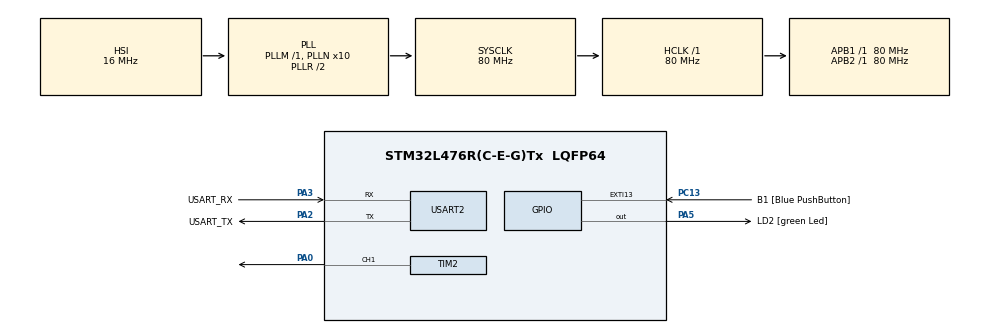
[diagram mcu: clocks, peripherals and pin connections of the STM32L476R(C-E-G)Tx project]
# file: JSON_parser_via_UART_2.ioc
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Dma.Request0=USART2_RX
Dma.Request1=TIM2_CH1
Dma.TIM2_CH1.1.Direction=DMA_MEMORY_TO_PERIPH
Dma.TIM2_CH1.1.Instance=DMA1_Channel5
Dma.TIM2_CH1.1.MemDataAlignment=DMA_MDATAALIGN_BYTE
Dma.TIM2_CH1.1.MemInc=DMA_MINC_ENABLE
Dma.TIM2_CH1.1.Mode=DMA_NORMAL
Dma.TIM2_CH1.1.PeriphDataAlignment=DMA_PDATAALIGN_WORD
Dma.TIM2_CH1.1.PeriphInc=DMA_PINC_DISABLE
Dma.TIM2_CH1.1.Priority=DMA_PRIORITY_LOW
Dma.USART2_RX.0.Direction=DMA_PERIPH_TO_MEMORY
Dma.USART2_RX.0.Instance=DMA1_Channel6
Dma.USART2_RX.0.MemDataAlignment=DMA_MDATAALIGN_BYTE
Dma.USART2_RX.0.MemInc=DMA_MINC_ENABLE
Dma.USART2_RX.0.Mode=DMA_NORMAL
Dma.USART2_RX.0.PeriphDataAlignment=DMA_PDATAALIGN_BYTE
Dma.USART2_RX.0.PeriphInc=DMA_PINC_DISABLE
Dma.USART2_RX.0.Priority=DMA_PRIORITY_LOW
Mcu.Family=STM32L4
Mcu.Name=STM32L476R(C-E-G)Tx
Mcu.Package=LQFP64
NVIC.DMA1_Channel5_IRQn=true\:0\:0\:false\:false\:true\:false\:true\:true
NVIC.DMA1_Channel6_IRQn=true\:0\:0\:false\:false\:true\:false\:true\:true
NVIC.EXTI15_10_IRQn=true\:1\:0\:true\:false\:true\:true\:true\:true
NVIC.PriorityGroup=NVIC_PRIORITYGROUP_4
NVIC.USART2_IRQn=true\:0\:0\:false\:false\:true\:true\:true\:true
PA0.Signal=S_TIM2_CH1
PA13\ (JTMS-SWDIO).GPIO_Label=TMS
PA13\ (JTMS-SWDIO).Mode=Serial_Wire
PA13\ (JTMS-SWDIO).Signal=SYS_JTMS-SWDIO
PA14\ (JTCK-SWCLK).GPIO_Label=TCK
PA14\ (JTCK-SWCLK).Mode=Serial_Wire
PA14\ (JTCK-SWCLK).Signal=SYS_JTCK-SWCLK
PA2.GPIO_Label=USART_TX
PA2.GPIO_Mode=GPIO_MODE_AF_PP
PA2.GPIO_PuPd=GPIO_NOPULL
PA2.GPIO_Speed=GPIO_SPEED_FREQ_VERY_HIGH
PA2.Mode=Asynchronous
PA2.Signal=USART2_TX
PA3.GPIO_Label=USART_RX
PA3.GPIO_Mode=GPIO_MODE_AF_PP
PA3.GPIO_PuPd=GPIO_NOPULL
PA3.GPIO_Speed=GPIO_SPEED_FREQ_VERY_HIGH
PA3.Mode=Asynchronous
PA3.Signal=USART2_RX
PA5.GPIO_Label=LD2 [green Led]
PA5.GPIO_ModeDefaultOutputPP=GPIO_MODE_OUTPUT_PP
PA5.GPIO_PuPd=GPIO_NOPULL
PA5.GPIO_Speed=GPIO_SPEED_FREQ_LOW
PA5.Signal=GPIO_Output
PB3\ (JTDO-TRACESWO).GPIO_Label=SWO
PB3\ (JTDO-TRACESWO).Signal=SYS_JTDO-SWO
PC13.GPIO_Label=B1 [Blue PushButton]
PC13.GPIO_ModeDefaultEXTI=GPIO_MODE_IT_FALLING
PC13.GPIO_PuPd=GPIO_NOPULL
PC13.Signal=GPXTI13
PC14-OSC32_IN\ (PC14).Mode=LSE-External-Oscillator
PC14-OSC32_IN\ (PC14).Signal=RCC_OSC32_IN
PC15-OSC32_OUT\ (PC15).Mode=LSE-External-Oscillator
PC15-OSC32_OUT\ (PC15).Signal=RCC_OSC32_OUT
PH0-OSC_IN\ (PH0).Signal=RCC_OSC_IN
PH1-OSC_OUT\ (PH1).Signal=RCC_OSC_OUT
ProjectManager.HeapSize=0x200
ProjectManager.StackSize=0x400
ProjectManager.TargetToolchain=STM32CubeIDE
RCC.ADCFreq_Value=64000000
RCC.AHBFreq_Value=80000000
RCC.APB1Freq_Value=80000000
RCC.APB1TimFreq_Value=80000000
RCC.APB2Freq_Value=80000000
RCC.APB2TimFreq_Value=80000000
RCC.CortexFreq_Value=80000000
RCC.HCLKFreq_Value=80000000
RCC.HSE_VALUE=8000000
RCC.HSI_VALUE=16000000
RCC.MSI_VALUE=4000000
RCC.PLLN=10
RCC.PLLSourceVirtual=RCC_PLLSOURCE_HSI
RCC.PREFETCH_ENABLE=1
RCC.SYSCLKFreq_VALUE=80000000
RCC.SYSCLKSource=RCC_SYSCLKSOURCE_PLLCLK
RCC.USBFreq_Value=64000000
RCC.VCOOutputFreq_Value=160000000
SH.S_TIM2_CH1.0=TIM2_CH1,PWM Generation1 CH1
TIM2.Channel-PWM\ Generation1\ CH1=TIM_CHANNEL_1
TIM2.Period=100-1
USART2.VirtualMode-Asynchronous=VM_ASYNC
board=NUCLEO-L476RG

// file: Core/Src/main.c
/* USER CODE BEGIN Header */
/**
  ******************************************************************************
  * @file           : main.c
  * @brief          : Main program body
  ******************************************************************************
  * @attention
  *
  * Copyright (c) 2023 STMicroelectronics.
  * All rights reserved.
  *
  * This software is licensed under terms that can be found in the LICENSE file
  * in the root directory of this software component.
  * If no LICENSE file comes with this software, it is provided AS-IS.
  *
  ******************************************************************************
  */
/* USER CODE END Header */
#include "main.h"
#include "dma.h"
#include "tim.h"
#include "usart.h"
#include "gpio.h"

/* USER CODE BEGIN Includes */
#include <stdbool.h>
#include <string.h>

#include "lwjson/lwjson.h"
#include "led_ws2813b.h"
/* USER CODE END Includes */

/* USER CODE BEGIN PTD */
typedef enum
{
	LED_OFF = 0,
	LED_ON
}led_state_t;

typedef struct
{
	uint8_t red;
	uint8_t green;
	uint8_t blue;
} led_rgb_t;

/* USER CODE END PTD */

/* USER CODE BEGIN PV */
uint8_t rx_buffer[256];
bool data_received = false;
/* USER CODE END PV */

void SystemClock_Config(void);

int main(void)
{

  /* MCU Configuration--------------------------------------------------------*/

  /* Reset of all peripherals, Initializes the Flash interface and the Systick. */
  HAL_Init();

  /* Configure the system clock */
  SystemClock_Config();

  /* Initialize all configured peripherals */
  MX_GPIO_Init();
  MX_DMA_Init();
  MX_USART2_UART_Init();
  MX_TIM2_Init();
  /* USER CODE BEGIN 2 */
  led_state_t led_state = LED_OFF;
  uint32_t blink_time = 1000;
  led_rgb_t led[NUMBER_OF_LEDS] = {0};
  uint32_t stimer = 0;
  uint32_t nbr;

  static lwjson_token_t tokens[128];
  static lwjson_t lwjson;

  lwjson_init(&lwjson, tokens, LWJSON_ARRAYSIZE(tokens));
  led_init();

  HAL_UARTEx_ReceiveToIdle_DMA(&huart2, rx_buffer, 256);

  stimer = HAL_GetTick();
  /* USER CODE END 2 */

  /* Infinite loop */
  /* USER CODE BEGIN WHILE */
  while (1)
  {
	  if (data_received == true)
	  {
		  data_received = false;

		  /*
			{
			  "BLINK_TIME":100,
			  "LED_COLOR":
			  [
				{
				  "NUMBER":0,
				  "RED":255,
				  "GREEN":0,
				  "BLUE":0
				},
				{
				  "NUMBER":1,
				  "RED":0,
				  "GREEN":255,
				  "BLUE":0
				},
				{
				  "NUMBER":2,
				  "RED":0,
				  "GREEN":0,
				  "BLUE":255
				},
				{
				  "NUMBER":3,
				  "RED":255,
				  "GREEN":255,
				  "BLUE":255
				}
			  ]
			}

			{"BLINK_TIME":100,"LED_COLOR":[{"NUMBER":0,"RED":255,"GREEN":0,"BLUE":0},{"NUMBER":1,"RED":0,"GREEN":255,"BLUE":0},{"NUMBER":2,"RED":0,"GREEN":0,"BLUE":255},{"NUMBER":3,"RED":255,"GREEN":255,"BLUE":255}]}
		  */

		  if (lwjson_parse(&lwjson, (char*)rx_buffer) == lwjsonOK)
		  {
			  const lwjson_token_t* t;
			  const lwjson_token_t* tmp;

			  if ((t = lwjson_find(&lwjson, "BLINK_TIME")) != NULL)
			  {
				  blink_time = lwjson_get_val_int(t);
			  }

			  t = lwjson_find(&lwjson, "LED_COLOR");
			  tmp = lwjson_get_first_child(t);

			  for(uint32_t i=0; i<NUMBER_OF_LEDS; i++)
			  {
					t = lwjson_find_ex(&lwjson, tmp, "NUMBER");

					if (t != NULL)
					{
						nbr = lwjson_get_val_int(t);
					}
					else
					{
						break;
					}

					t = lwjson_find_ex(&lwjson, tmp, "RED");

					if (t != NULL)
					{
						led[nbr].red = lwjson_get_val_int(t);
					}

					t = lwjson_find_ex(&lwjson, tmp, "GREEN");

					if (t != NULL)
					{
						led[nbr].green = lwjson_get_val_int(t);
					}

					t = lwjson_find_ex(&lwjson, tmp, "BLUE");

					if (t != NULL)
					{
						led[nbr].blue = lwjson_get_val_int(t);
					}

					tmp = tmp->next;
			  }

			  lwjson_free(&lwjson);
		  }
	  }

	  if ((HAL_GetTick() - stimer) > blink_time)
	  {
			stimer = HAL_GetTick();

			if (led_state == LED_OFF)
			{
				led_state = LED_ON;

				for (int i=0; i<NUMBER_OF_LEDS; i++)
					led_set_one_led_colors(i, led[i].green, led[i].red, led[i].blue);

				led_send_led_colors();
			}
			else if (led_state == LED_ON)
			{
				led_state = LED_OFF;

				led_set_all_led_colors(0, 0, 0);
				led_send_led_colors();
			}
	  }

    /* USER CODE END WHILE */

  }
}

void SystemClock_Config(void)
{
  RCC_OscInitTypeDef RCC_OscInitStruct = {0};
  RCC_ClkInitTypeDef RCC_ClkInitStruct = {0};

  /** Configure the main internal regulator output voltage
  */
  if (HAL_PWREx_ControlVoltageScaling(PWR_REGULATOR_VOLTAGE_SCALE1) != HAL_OK)
  {
    Error_Handler();
  }

  /** Initializes the RCC Oscillators according to the specified parameters
  * in the RCC_OscInitTypeDef structure.
  */
  RCC_OscInitStruct.OscillatorType = RCC_OSCILLATORTYPE_HSI;
  RCC_OscInitStruct.HSIState = RCC_HSI_ON;
  RCC_OscInitStruct.HSICalibrationValue = RCC_HSICALIBRATION_DEFAULT;
  RCC_OscInitStruct.PLL.PLLState = RCC_PLL_ON;
  RCC_OscInitStruct.PLL.PLLSource = RCC_PLLSOURCE_HSI;
  RCC_OscInitStruct.PLL.PLLM = 1;
  RCC_OscInitStruct.PLL.PLLN = 10;
  RCC_OscInitStruct.PLL.PLLP = RCC_PLLP_DIV7;
  RCC_OscInitStruct.PLL.PLLQ = RCC_PLLQ_DIV2;
  RCC_OscInitStruct.PLL.PLLR = RCC_PLLR_DIV2;
  if (HAL_RCC_OscConfig(&RCC_OscInitStruct) != HAL_OK)
  {
    Error_Handler();
  }

  /** Initializes the CPU, AHB and APB buses clocks
  */
  RCC_ClkInitStruct.ClockType = RCC_CLOCKTYPE_HCLK|RCC_CLOCKTYPE_SYSCLK
                              |RCC_CLOCKTYPE_PCLK1|RCC_CLOCKTYPE_PCLK2;
  RCC_ClkInitStruct.SYSCLKSource = RCC_SYSCLKSOURCE_PLLCLK;
  RCC_ClkInitStruct.AHBCLKDivider = RCC_SYSCLK_DIV1;
  RCC_ClkInitStruct.APB1CLKDivider = RCC_HCLK_DIV1;
  RCC_ClkInitStruct.APB2CLKDivider = RCC_HCLK_DIV1;

  if (HAL_RCC_ClockConfig(&RCC_ClkInitStruct, FLASH_LATENCY_4) != HAL_OK)
  {
    Error_Handler();
  }
}

/* USER CODE BEGIN 4 */
void HAL_UARTEx_RxEventCallback(UART_HandleTypeDef *huart, uint16_t Size)
{
	if (huart->Instance == USART2)
	{
		rx_buffer[Size] = '\0';
		data_received = true;
		HAL_UARTEx_ReceiveToIdle_DMA(&huart2, rx_buffer, 256);
	}
}

void HAL_TIM_PWM_PulseFinishedCallback(TIM_HandleTypeDef *htim)
{
	if(TIM2 == htim->Instance)
	{
		HAL_TIM_PWM_Stop(&htim2, TIM_CHANNEL_1);
	}
}
/* USER CODE END 4 */

void Error_Handler(void)
{
  __disable_irq();
  while (1)
  {
  }
}
